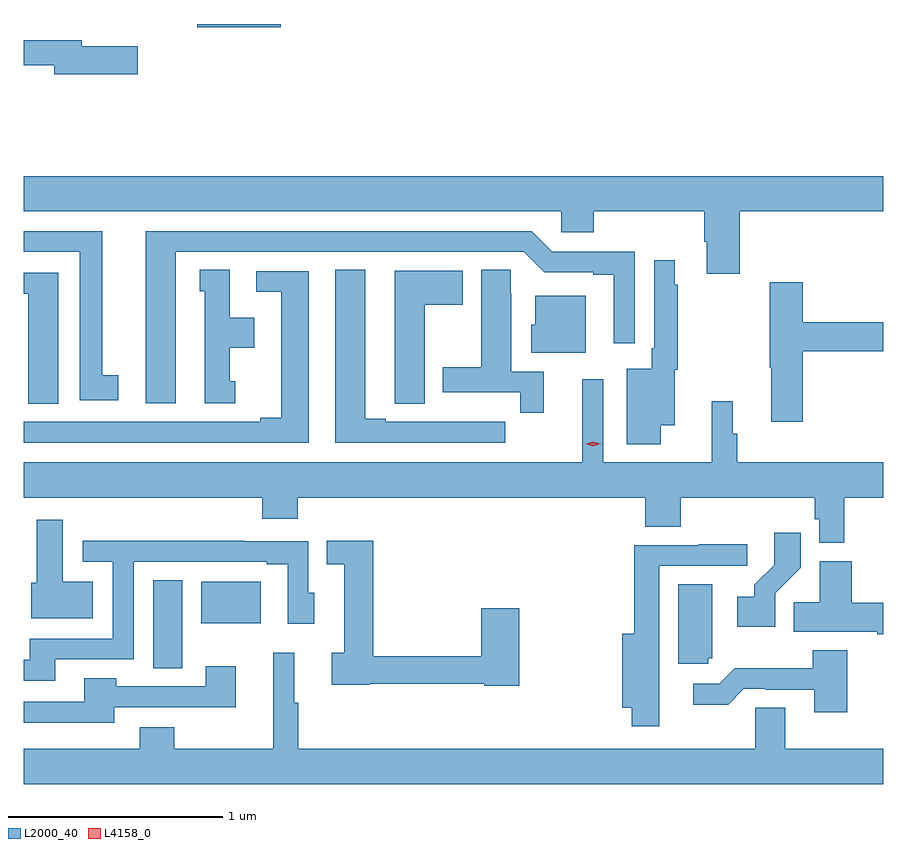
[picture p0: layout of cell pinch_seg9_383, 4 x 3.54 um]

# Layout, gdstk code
import gdstk
lib = gdstk.Library(unit=1e-6, precision=1e-09)
def R(c, l, rs):  # rectangles x0, y0, x1, y1
    for r in rs: c.add(gdstk.rectangle(r[:2], r[2:], *l))
def P(c, l, *ps):  # polygons
    for p in ps: c.add(gdstk.Polygon(p, *l))
L2000_40 = (2000, 40)
L4158_0 = (4158, 0)

pinch_seg9_383 = lib.new_cell('pinch_seg9_383')
R(pinch_seg9_383, L2000_40, [(310.328,1236.919,310.462,1237.328), (310.55,1237.127,310.828,1237.321), (310.532,1239.899,310.921,1239.915)])
P(pinch_seg9_383, L2000_40, [(310.255,1239.811),(309.994,1239.811),(309.994,1239.84),(309.724,1239.84),(309.724,1239.724),(309.866,1239.724),(309.866,1239.682),(310.255,1239.682)],
  [(313.055,1239.044),(313.724,1239.044),(313.724,1239.208),(309.724,1239.208),(309.724,1239.044),(312.225,1239.044),(312.225,1238.946),(312.377,1238.946),(312.377,1239.044),(312.89,1239.044),(312.89,1238.902),(312.902,1238.902),(312.902,1238.754),(313.055,1238.754)],
  [(310.432,1238.856),(312.051,1238.856),(312.147,1238.76),(312.374,1238.76),(312.374,1238.748),(312.47,1238.748),(312.47,1238.43),(312.567,1238.43),(312.567,1238.856),(312.183,1238.856),(312.087,1238.952),(310.292,1238.952),(310.292,1238.151),(310.432,1238.151)],
  [(310.165,1238.282),(310.09,1238.282),(310.09,1238.952),(309.724,1238.952),(309.724,1238.856),(309.986,1238.856),(309.986,1238.166),(310.165,1238.166)],
  [(312.688,1238.048),(312.754,1238.048),(312.754,1238.307),(312.766,1238.307),(312.766,1238.702),(312.754,1238.702),(312.754,1238.815),(312.657,1238.815),(312.657,1238.407),(312.645,1238.407),(312.645,1238.311),(312.53,1238.311),(312.53,1237.961),(312.688,1237.961)],
  [(311.965,1238.064),(311.852,1238.064),(311.852,1238.065),(311.686,1238.065),(311.686,1238.064),(311.41,1238.064),(311.41,1238.079),(311.314,1238.079),(311.314,1238.771),(311.174,1238.771),(311.174,1237.968),(311.965,1237.968)],
  [(312.143,1238.298),(311.992,1238.298),(311.992,1238.66),(311.991,1238.66),(311.991,1238.771),(311.852,1238.771),(311.852,1238.319),(311.675,1238.319),(311.675,1238.202),(312.034,1238.202),(312.034,1238.106),(312.143,1238.106)],
  [(310.708,1238.253),(310.684,1238.253),(310.684,1238.408),(310.798,1238.408),(310.798,1238.548),(310.684,1238.548),(310.684,1238.771),(310.544,1238.771),(310.544,1238.673),(310.568,1238.673),(310.568,1238.151),(310.708,1238.151)],
  [(311.59,1238.608),(311.767,1238.608),(311.767,1238.767),(311.45,1238.767),(311.45,1238.257),(311.451,1238.257),(311.451,1238.149),(311.59,1238.149)],
  [(311.05,1238.766),(310.806,1238.766),(310.806,1238.67),(310.922,1238.67),(310.922,1238.084),(310.826,1238.084),(310.826,1238.064),(309.724,1238.064),(309.724,1237.968),(311.05,1237.968)],
  [(309.886,1238.757),(309.724,1238.757),(309.724,1238.66),(309.746,1238.66),(309.746,1238.257),(309.747,1238.257),(309.747,1238.149),(309.886,1238.149)],
  [(313.349,1238.392),(313.724,1238.392),(313.724,1238.528),(313.349,1238.528),(313.349,1238.713),(313.195,1238.713),(313.195,1238.315),(313.202,1238.315),(313.202,1238.064),(313.349,1238.064)],
  [(312.34,1238.65),(312.104,1238.65),(312.104,1238.517),(312.086,1238.517),(312.086,1238.387),(312.34,1238.387)],
  [(313.541,1237.712),(313.724,1237.712),(313.724,1237.876),(313.043,1237.876),(313.043,1238.01),(313.024,1238.01),(313.024,1238.161),(312.925,1238.161),(312.925,1237.876),(312.42,1237.876),(312.42,1238.263),(312.323,1238.263),(312.323,1237.876),(309.724,1237.876),(309.724,1237.712),(310.835,1237.712),(310.835,1237.613),(311,1237.613),(311,1237.712),(312.617,1237.712),(312.617,1237.576),(312.782,1237.576),(312.782,1237.712),(313.405,1237.712),(313.405,1237.611),(313.425,1237.611),(313.425,1237.502),(313.541,1237.502)],
  [(310.045,1237.321),(309.907,1237.321),(309.907,1237.609),(309.785,1237.609),(309.785,1237.317),(309.761,1237.317),(309.761,1237.151),(310.045,1237.151)],
  [(313.221,1237.267),(313.34,1237.386),(313.34,1237.549),(313.215,1237.549),(313.215,1237.397),(313.124,1237.307),(313.124,1237.252),(313.044,1237.252),(313.044,1237.112),(313.221,1237.112)],
  [(312.03,1237.198),(311.852,1237.198),(311.852,1236.974),(311.351,1236.974),(311.351,1237.511),(311.134,1237.511),(311.134,1237.401),(311.216,1237.401),(311.216,1236.99),(311.157,1236.99),(311.157,1236.842),(311.334,1236.842),(311.334,1236.846),(311.868,1236.846),(311.868,1236.838),(312.03,1236.838)],
  [(309.871,1236.96),(310.236,1236.96),(310.236,1237.413),(310.856,1237.413),(310.856,1237.401),(310.953,1237.401),(310.953,1237.125),(311.077,1237.125),(311.077,1237.269),(311.049,1237.269),(311.049,1237.509),(310.751,1237.509),(310.751,1237.511),(309.999,1237.511),(309.999,1237.413),(310.14,1237.413),(310.14,1237.056),(309.754,1237.056),(309.754,1236.959),(309.724,1236.959),(309.724,1236.861),(309.871,1236.861)],
  [(312.681,1237.395),(313.09,1237.395),(313.09,1237.494),(312.865,1237.494),(312.865,1237.491),(312.565,1237.491),(312.565,1237.078),(312.509,1237.078),(312.509,1236.734),(312.552,1236.734),(312.552,1236.648),(312.681,1236.648)],
  [(313.724,1237.223),(313.577,1237.223),(313.577,1237.417),(313.427,1237.417),(313.427,1237.226),(313.306,1237.226),(313.306,1237.088),(313.694,1237.088),(313.694,1237.076),(313.724,1237.076)],
  [(312.909,1236.966),(312.928,1236.966),(312.928,1237.31),(312.77,1237.31),(312.77,1236.939),(312.909,1236.939)],
  [(313.556,1237.003),(313.396,1237.003),(313.396,1236.919),(313.033,1236.919),(312.96,1236.846),(312.84,1236.846),(312.84,1236.749),(313.001,1236.749),(313.074,1236.822),(313.174,1236.822),(313.174,1236.819),(313.403,1236.819),(313.403,1236.714),(313.556,1236.714)],
  [(313.724,1236.544),(313.267,1236.544),(313.267,1236.734),(313.128,1236.734),(313.128,1236.544),(311.003,1236.544),(311.003,1236.759),(310.984,1236.759),(310.984,1236.991),(310.886,1236.991),(310.886,1236.544),(310.425,1236.544),(310.425,1236.643),(310.265,1236.643),(310.265,1236.544),(309.724,1236.544),(309.724,1236.38),(313.724,1236.38)],
  [(310.147,1236.738),(310.711,1236.738),(310.711,1236.928),(310.571,1236.928),(310.571,1236.834),(310.155,1236.834),(310.155,1236.871),(310.007,1236.871),(310.007,1236.762),(309.724,1236.762),(309.724,1236.666),(310.147,1236.666)])
P(pinch_seg9_383, L4158_0, [(312.372,1237.952),(312.338,1237.962),(312.338,1237.962),(312.338,1237.963),(312.373,1237.972),(312.407,1237.962),(312.408,1237.962),(312.407,1237.962)])

lib.write_gds('pinch_seg9_383.gds')
